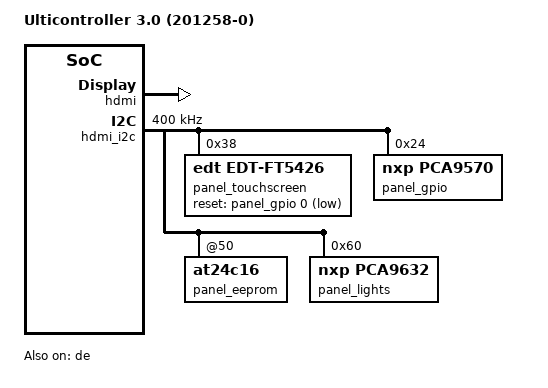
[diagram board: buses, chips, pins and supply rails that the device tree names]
/*
 * Copyright 2017 - Ultimaker B.V.
 * Author Olliver Schinagl <o.schinagl@ultimaker.com>
 *
 * This file is dual-licensed: you can use it either under the terms
 * of the GPL or the X11 license, at your option. Note that this dual
 * licensing only applies to this file, and not this project as a
 * whole.
 *
 *  a) This file is free software; you can redistribute it and/or
 *     modify it under the terms of the GNU General Public License as
 *     published by the Free Software Foundation; either version 2 of the
 *     License, or (at your option) any later version.
 *
 *     This file is distributed in the hope that it will be useful,
 *     but WITHOUT ANY WARRANTY; without even the implied warranty of
 *     MERCHANTABILITY or FITNESS FOR A PARTICULAR PURPOSE.  See the
 *     GNU General Public License for more details.
 *
 * Or, alternatively,
 *
 *  b) Permission is hereby granted, free of charge, to any person
 *     obtaining a copy of this software and associated documentation
 *     files (the "Software"), to deal in the Software without
 *     restriction, including without limitation the rights to use,
 *     copy, modify, merge, publish, distribute, sublicense, and/or
 *     sell copies of the Software, and to permit persons to whom the
 *     Software is furnished to do so, subject to the following
 *     conditions:
 *
 *     The above copyright notice and this permission notice shall be
 *     included in all copies or substantial portions of the Software.
 *
 *     THE SOFTWARE IS PROVIDED "AS IS", WITHOUT WARRANTY OF ANY KIND,
 *     EXPRESS OR IMPLIED, INCLUDING BUT NOT LIMITED TO THE WARRANTIES
 *     OF MERCHANTABILITY, FITNESS FOR A PARTICULAR PURPOSE AND
 *     NONINFRINGEMENT. IN NO EVENT SHALL THE AUTHORS OR COPYRIGHT
 *     HOLDERS BE LIABLE FOR ANY CLAIM, DAMAGES OR OTHER LIABILITY,
 *     WHETHER IN AN ACTION OF CONTRACT, TORT OR OTHERWISE, ARISING
 *     FROM, OUT OF OR IN CONNECTION WITH THE SOFTWARE OR THE USE OR
 *     OTHER DEALINGS IN THE SOFTWARE.
 */
#include <dt-bindings/input/input.h>

/ {
	model = "Ulticontroller 3.0 (201258-0)";
	compatible = "ultimaker,201258-0";
};

&de {
	status = "okay";
};

&hdmi {
	status = "okay";
};

&hdmi_i2c {
	clock-frequency = <400000>;
	status = "okay";

	panel_touchscreen: ft5426@38 {
		compatible = "edt,edt-ft5426";
		reg = <0x38>;
		poll-interval = <10>;
		reset-gpios = <&panel_gpio 0 GPIO_ACTIVE_LOW>;

		touchscreen-min-size-x = <0>;
		touchscreen-max-size-x = <800>;
		touchscreen-min-size-y = <0>;
		touchscreen-max-size-y = <320>;
	};

	panel_gpio: pca9570@24 {
		compatible = "nxp,pca9570";
		gpio-controller;
		#gpio-cells = <2>;
		reg = <0x24>;
	};

	panel_eeprom: at24c16@50 {
		compatibe = "atmel,24c16";
		page = <0x50>;
		pagesize = <16>;
	};

	panel_lights: pca9632@60 {
		compatible = "nxp,pca9632";
		#address-cells = <1>;
		#size-cells = <0>;
		reg = <0x60>;
		nxp,totem-pole;
		nxp,hw-blink;

		red@0 {
			label = "red:panel_indicator";
			reg = <0>;
			linux,default-trigger = "none";
		};

		green@1 {
			label = "green:panel_indicator";
			reg = <1>;
			linux,default-trigger = "none";
		};

		blue@2 {
			label = "blue:panel_indicator";
			reg = <2>;
			linux,default-trigger = "none";
		};

		panel_backlight: backlight@3 {
			label = "white:panel_backlight";
			reg = <3>;
			linux,default-trigger = "default-on";
		};
	};
};
